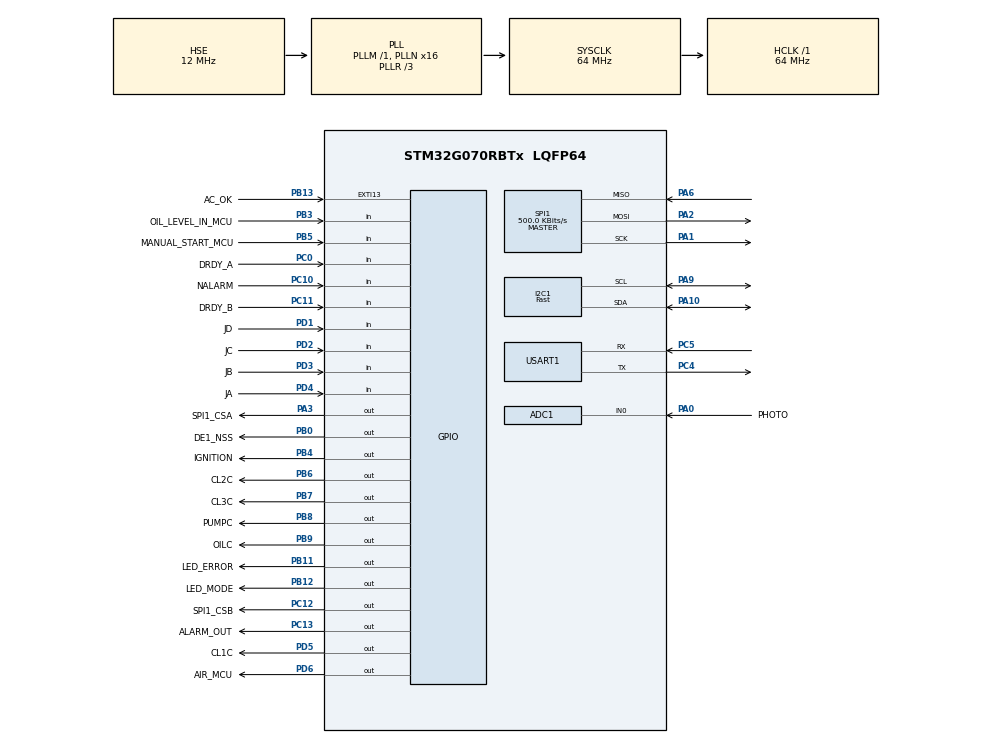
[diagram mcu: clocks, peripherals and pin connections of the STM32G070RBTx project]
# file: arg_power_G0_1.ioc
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ADC1.Channel-0\#ChannelRegularConversion=ADC_CHANNEL_0
ADC1.NbrOfConversionFlag=1
ADC1.Rank-0\#ChannelRegularConversion=1
ADC1.SamplingTime-0\#ChannelRegularConversion=ADC_SAMPLINGTIME_COMMON_1
ADC1.SelectedChannel=ADC_CHANNEL_0
ADC1.master=1
FREERTOS.HEAP_NUMBER=1
FREERTOS.INCLUDE_vTaskDelete=0
FREERTOS.MEMORY_ALLOCATION=0
FREERTOS.Tasks01=LCDTask,0,128,StartLCDTask,Default,NULL,Dynamic,NULL,NULL;OilHeatTask,0,128,StartOilHeatTask,Default,NULL,Dynamic,NULL,NULL;ProcessTask,0,128,StartProcessTask,Default,NULL,Dynamic,NULL,NULL;SensorsTask,0,128,StartSensorsTask,Default,NULL,Dynamic,NULL,NULL;ModbusTask,0,128,StartModbusTask,Default,NULL,Dynamic,NULL,NULL;LEDTask,-2,128,StartTaskLED,Default,NULL,Dynamic,NULL,NULL
FREERTOS.configTOTAL_HEAP_SIZE=10000
I2C1.CustomTiming=Enabled
I2C1.I2C_Speed_Mode=I2C_Fast
I2C1.Speed=250
I2C1.Timing=0x10707DBC
Mcu.Family=STM32G0
Mcu.Name=STM32G070RBTx
Mcu.Package=LQFP64
NVIC.EXTI4_15_IRQn=true\:3\:0\:false\:false\:true\:true\:true\:true\:true
PA0.GPIO_Label=PHOTO
PA0.Mode=IN0
PA0.Signal=ADC1_IN0
PA1.Mode=Full_Duplex_Master
PA1.Signal=SPI1_SCK
PA10.Mode=I2C
PA10.Signal=I2C1_SDA
PA13.Mode=Serial_Wire
PA13.Signal=SYS_SWDIO
PA14-BOOT0.Mode=Serial_Wire
PA14-BOOT0.Signal=SYS_SWCLK
PA2.Mode=Full_Duplex_Master
PA2.Signal=SPI1_MOSI
PA3.GPIO_Label=SPI1_CSA
PA3.Signal=GPIO_Output
PA6.Mode=Full_Duplex_Master
PA6.Signal=SPI1_MISO
PA9.Mode=I2C
PA9.Signal=I2C1_SCL
PB0.GPIO_Label=DE1_NSS
PB0.Signal=GPIO_Output
PB11.GPIO_Label=LED_ERROR
PB11.Signal=GPIO_Output
PB12.GPIO_Label=LED_MODE
PB12.Signal=GPIO_Output
PB13.GPIO_Label=AC_OK
PB13.GPIO_ModeDefaultEXTI=GPIO_MODE_IT_FALLING
PB13.Signal=GPXTI13
PB3.GPIO_Label=OIL_LEVEL_IN_MCU
PB3.Signal=GPIO_Input
PB4.GPIO_Label=IGNITION
PB4.GPIO_PuPd=GPIO_PULLDOWN
PB4.Signal=GPIO_Output
PB5.GPIO_Label=MANUAL_START_MCU
PB5.Signal=GPIO_Input
PB6.GPIO_Label=CL2C
PB6.GPIO_PuPd=GPIO_PULLDOWN
PB6.Signal=GPIO_Output
PB7.GPIO_Label=CL3C
PB7.GPIO_PuPd=GPIO_PULLDOWN
PB7.Signal=GPIO_Output
PB8.GPIO_Label=PUMPC
PB8.Signal=GPIO_Output
PB9.GPIO_Label=OILC
PB9.GPIO_PuPd=GPIO_PULLDOWN
PB9.Signal=GPIO_Output
PC0.GPIO_Label=DRDY_A
PC0.GPIO_PuPd=GPIO_PULLDOWN
PC0.Signal=GPIO_Input
PC10.GPIO_Label=NALARM
PC10.Signal=GPIO_Input
PC11.GPIO_Label=DRDY_B
PC11.GPIO_PuPd=GPIO_PULLDOWN
PC11.Signal=GPIO_Input
PC12.GPIO_Label=SPI1_CSB
PC12.Signal=GPIO_Output
PC13.GPIO_Label=ALARM_OUT
PC13.Signal=GPIO_Output
PC4.Mode=Asynchronous
PC4.Signal=USART1_TX
PC5.Mode=Asynchronous
PC5.Signal=USART1_RX
PD1.GPIO_Label=JD
PD1.GPIO_PuPd=GPIO_PULLDOWN
PD1.Signal=GPIO_Input
PD2.GPIO_Label=JC
PD2.GPIO_PuPd=GPIO_PULLDOWN
PD2.Signal=GPIO_Input
PD3.GPIO_Label=JB
PD3.GPIO_PuPd=GPIO_PULLDOWN
PD3.Signal=GPIO_Input
PD4.GPIO_Label=JA
PD4.GPIO_PuPd=GPIO_PULLDOWN
PD4.Signal=GPIO_Input
PD5.GPIO_Label=CL1C
PD5.GPIO_PuPd=GPIO_PULLDOWN
PD5.Signal=GPIO_Output
PD6.GPIO_Label=AIR_MCU
PD6.Signal=GPIO_Output
PF0-OSC_IN\ (PF0).Mode=HSE-External-Oscillator
PF0-OSC_IN\ (PF0).Signal=RCC_OSC_IN
PF1-OSC_OUT\ (PF1).Mode=HSE-External-Oscillator
PF1-OSC_OUT\ (PF1).Signal=RCC_OSC_OUT
ProjectManager.HeapSize=0x200
ProjectManager.StackSize=0x400
ProjectManager.TargetToolchain=MDK-ARM V5.32
RCC.ADCFreq_Value=64000000
RCC.AHBFreq_Value=64000000
RCC.CortexFreq_Value=64000000
RCC.EXTERNAL_CLOCK_VALUE=48000
RCC.HCLKFreq_Value=64000000
RCC.HSE_VALUE=12000000
RCC.HSI_VALUE=16000000
RCC.LSE_VALUE=32768
RCC.PLLN=16
RCC.PLLR=RCC_PLLR_DIV3
RCC.PLLSourceVirtual=RCC_PLLSOURCE_HSE
RCC.SYSCLKFreq_VALUE=64000000
RCC.SYSCLKSource=RCC_SYSCLKSOURCE_PLLCLK
RCC.VCOOutputFreq_Value=192000000
SPI1.BaudRatePrescaler=SPI_BAUDRATEPRESCALER_128
SPI1.CLKPhase=SPI_PHASE_2EDGE
SPI1.CalculateBaudRate=500.0 KBits/s
SPI1.DataSize=SPI_DATASIZE_8BIT
SPI1.Direction=SPI_DIRECTION_2LINES
SPI1.Mode=SPI_MODE_MASTER
SPI1.VirtualType=VM_MASTER
USART1.VirtualMode-Asynchronous=VM_ASYNC
VP_FREERTOS_VS_CMSIS_V1.Mode=CMSIS_V1
VP_SYS_VS_DBSignals.Mode=DisableDeadBatterySignals
board=custom

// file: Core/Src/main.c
/* USER CODE BEGIN Header */
/**
  ******************************************************************************
  * @file           : main.c
  * @brief          : Main program body
  ******************************************************************************
  * @attention
  *
  * Copyright (c) 2024 STMicroelectronics.
  * All rights reserved.
  *
  * This software is licensed under terms that can be found in the LICENSE file
  * in the root directory of this software component.
  * If no LICENSE file comes with this software, it is provided AS-IS.
  *
  ******************************************************************************
  */
/* USER CODE END Header */
#include "main.h"
#include "cmsis_os.h"
#include "adc.h"
#include "i2c.h"
#include "spi.h"
#include "usart.h"
#include "gpio.h"

void SystemClock_Config(void);
void MX_FREERTOS_Init(void);

int main(void)
{

  /* MCU Configuration--------------------------------------------------------*/

  /* Reset of all peripherals, Initializes the Flash interface and the Systick. */
  HAL_Init();

  /* Configure the system clock */
  SystemClock_Config();

  /* Initialize all configured peripherals */
  MX_GPIO_Init();
  MX_ADC1_Init();
  MX_I2C1_Init();
  MX_USART1_UART_Init();
  MX_SPI1_Init();

  /* Call init function for freertos objects (in cmsis_os2.c) */
  MX_FREERTOS_Init();

  /* Start scheduler */
  osKernelStart();

  /* We should never get here as control is now taken by the scheduler */

  /* Infinite loop */
  while (1)
  {

  }
}

void SystemClock_Config(void)
{
  RCC_OscInitTypeDef RCC_OscInitStruct = {0};
  RCC_ClkInitTypeDef RCC_ClkInitStruct = {0};

  /** Configure the main internal regulator output voltage
  */
  HAL_PWREx_ControlVoltageScaling(PWR_REGULATOR_VOLTAGE_SCALE1);

  /** Initializes the RCC Oscillators according to the specified parameters
  * in the RCC_OscInitTypeDef structure.
  */
  RCC_OscInitStruct.OscillatorType = RCC_OSCILLATORTYPE_HSE;
  RCC_OscInitStruct.HSEState = RCC_HSE_ON;
  RCC_OscInitStruct.PLL.PLLState = RCC_PLL_ON;
  RCC_OscInitStruct.PLL.PLLSource = RCC_PLLSOURCE_HSE;
  RCC_OscInitStruct.PLL.PLLM = RCC_PLLM_DIV1;
  RCC_OscInitStruct.PLL.PLLN = 16;
  RCC_OscInitStruct.PLL.PLLP = RCC_PLLP_DIV2;
  RCC_OscInitStruct.PLL.PLLR = RCC_PLLR_DIV3;
  if (HAL_RCC_OscConfig(&RCC_OscInitStruct) != HAL_OK)
  {
    Error_Handler();
  }

  /** Initializes the CPU, AHB and APB buses clocks
  */
  RCC_ClkInitStruct.ClockType = RCC_CLOCKTYPE_HCLK|RCC_CLOCKTYPE_SYSCLK
                              |RCC_CLOCKTYPE_PCLK1;
  RCC_ClkInitStruct.SYSCLKSource = RCC_SYSCLKSOURCE_PLLCLK;
  RCC_ClkInitStruct.AHBCLKDivider = RCC_SYSCLK_DIV1;
  RCC_ClkInitStruct.APB1CLKDivider = RCC_HCLK_DIV1;

  if (HAL_RCC_ClockConfig(&RCC_ClkInitStruct, FLASH_LATENCY_2) != HAL_OK)
  {
    Error_Handler();
  }
}

void Error_Handler(void)
{
  /* USER CODE BEGIN Error_Handler_Debug */
  /* User can add his own implementation to report the HAL error return state */
  __disable_irq();
  while (1)
  {
		HAL_GPIO_WritePin(LED_ERROR_GPIO_Port,LED_ERROR_Pin, GPIO_PIN_SET);
  }
  /* USER CODE END Error_Handler_Debug */
}

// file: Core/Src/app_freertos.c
/* USER CODE BEGIN Header */
/**
  ******************************************************************************
  * File Name          : app_freertos.c
  * Description        : Code for freertos applications
  ******************************************************************************
  * @attention
  *
  * Copyright (c) 2024 STMicroelectronics.
  * All rights reserved.
  *
  * This software is licensed under terms that can be found in the LICENSE file
  * in the root directory of this software component.
  * If no LICENSE file comes with this software, it is provided AS-IS.
  *
  ******************************************************************************
  */
/* USER CODE END Header */

#include "FreeRTOS.h"
#include "task.h"
#include "main.h"
#include "cmsis_os.h"

/* USER CODE BEGIN Includes */
#include "SSD1306.h"
#include "Periphery.h"
#include "LED.h"
/* USER CODE END Includes */

osThreadId LCDTaskHandle;
osThreadId OilHeatTaskHandle;
osThreadId ProcessTaskHandle;
osThreadId SensorsTaskHandle;
osThreadId ModbusTaskHandle;
osThreadId LEDTaskHandle;

void StartLCDTask(void const * argument);
void StartOilHeatTask(void const * argument);
void StartProcessTask(void const * argument);
void StartSensorsTask(void const * argument);
void StartModbusTask(void const * argument);
void StartTaskLED(void const * argument);

void MX_FREERTOS_Init(void); /* (MISRA C 2004 rule 8.1) */

void MX_FREERTOS_Init(void) {

  /* Create the thread(s) */
  /* definition and creation of LCDTask */
  osThreadDef(LCDTask, StartLCDTask, osPriorityNormal, 0, 128);
  LCDTaskHandle = osThreadCreate(osThread(LCDTask), NULL);

  /* definition and creation of OilHeatTask */
  osThreadDef(OilHeatTask, StartOilHeatTask, osPriorityNormal, 0, 128);
  OilHeatTaskHandle = osThreadCreate(osThread(OilHeatTask), NULL);

  /* definition and creation of ProcessTask */
  osThreadDef(ProcessTask, StartProcessTask, osPriorityNormal, 0, 128);
  ProcessTaskHandle = osThreadCreate(osThread(ProcessTask), NULL);

  /* definition and creation of SensorsTask */
  osThreadDef(SensorsTask, StartSensorsTask, osPriorityNormal, 0, 128);
  SensorsTaskHandle = osThreadCreate(osThread(SensorsTask), NULL);

  /* definition and creation of ModbusTask */
  osThreadDef(ModbusTask, StartModbusTask, osPriorityNormal, 0, 128);
  ModbusTaskHandle = osThreadCreate(osThread(ModbusTask), NULL);

  /* definition and creation of LEDTask */
  osThreadDef(LEDTask, StartTaskLED, osPriorityLow, 0, 128);
  LEDTaskHandle = osThreadCreate(osThread(LEDTask), NULL);

}

void StartLCDTask(void const * argument)
{
  /* USER CODE BEGIN StartLCDTask */
	ssd1306_Init();
	osDelay(100);
	ssd1306_UpdateScreen();
	osDelay(10);
	ssd1306_UpdateScreen();
	uint8_t i=0;
  /* Infinite loop */
  for(;;)
  {
	ssd1306_Fill(Black);
	ssd1306_SetCursor(i, i); i++;
	ssd1306_WriteString("3453453", Font_7x10, White);
	ssd1306_UpdateScreen();
	osDelay(1);
	if(i>55) i=0;
}
  /* USER CODE END StartLCDTask */
}

void StartOilHeatTask(void const * argument)
{
  /* USER CODE BEGIN StartOilHeatTask */
  /* Infinite loop */
  for(;;)
  {
    osDelay(10);
  }
  /* USER CODE END StartOilHeatTask */
}

void StartProcessTask(void const * argument)
{
  for(;;)
  {
    osDelay(1);
  }
}

/* USER CODE BEGIN Header_StartSensorsTask */
/**
* @brief Function implementing the SensorsTask thread.
* @param argument: Not used
* @retval None
*/

//float	temperature_oil;
//float	temperature_water;
/* USER CODE END Header_StartSensorsTask */
void StartSensorsTask(void const * argument)
{
  /* USER CODE BEGIN StartSensorsTask */
	InitTemperatureSensors();
	ReadOilTempJumpers();
	/* Infinite loop */
	for(;;)
	{
		AC_Timer();
		ReadAlarmPin();
		ReadOilLevelPin();
		ReadPhotoSensor();
		ReadTemperatureSensors();
		ReadManualStartPin();
		osDelay(100);
	}
  /* USER CODE END StartSensorsTask */
}

void StartModbusTask(void const * argument)
{
  /* USER CODE BEGIN StartModbusTask */
  /* Infinite loop */
  for(;;)
  {
    osDelay(10);
  }
  /* USER CODE END StartModbusTask */
}

void StartTaskLED(void const * argument)
{
  /* USER CODE BEGIN StartTaskLED */
  HAL_GPIO_TogglePin(LED_ERROR_GPIO_Port,LED_ERROR_Pin);
  /* Infinite loop */
  for(;;)
  {
	HAL_GPIO_TogglePin(LED_MODE_GPIO_Port,LED_MODE_Pin);
	HAL_GPIO_TogglePin(LED_ERROR_GPIO_Port,LED_ERROR_Pin);
	LED_Indicator();
    osDelay(100);
  }
  /* USER CODE END StartTaskLED */
}
